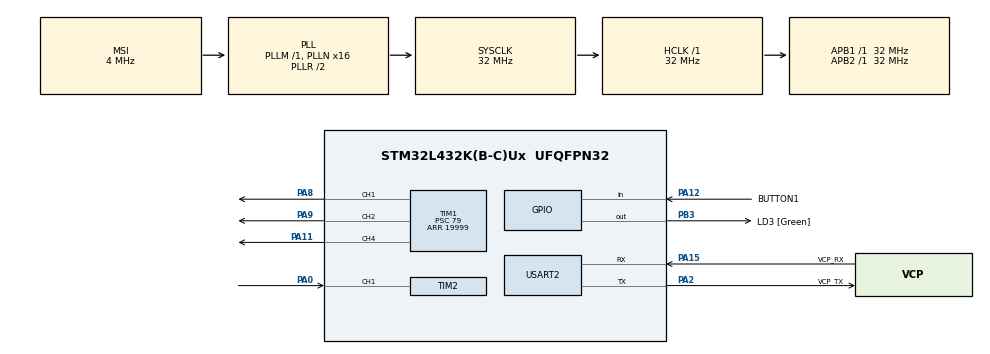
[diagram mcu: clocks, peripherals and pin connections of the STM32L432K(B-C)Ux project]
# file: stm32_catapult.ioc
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Mcu.Family=STM32L4
Mcu.Name=STM32L432K(B-C)Ux
Mcu.Package=UFQFPN32
NVIC.PriorityGroup=NVIC_PRIORITYGROUP_4
NVIC.TIM2_IRQn=true\:0\:0\:false\:false\:true\:true\:true\:true
NVIC.USART2_IRQn=true\:0\:0\:false\:false\:true\:true\:true\:true
PA0.Signal=S_TIM2_CH1
PA11.Signal=S_TIM1_CH4
PA12.GPIO_Label=BUTTON1
PA12.Signal=GPIO_Input
PA13\ (JTMS-SWDIO).GPIO_Label=SWDIO
PA13\ (JTMS-SWDIO).Mode=Serial_Wire
PA13\ (JTMS-SWDIO).Signal=SYS_JTMS-SWDIO
PA14\ (JTCK-SWCLK).GPIO_Label=SWCLK
PA14\ (JTCK-SWCLK).Mode=Serial_Wire
PA14\ (JTCK-SWCLK).Signal=SYS_JTCK-SWCLK
PA15\ (JTDI).GPIO_Label=VCP_RX
PA15\ (JTDI).Mode=Asynchronous
PA15\ (JTDI).Signal=USART2_RX
PA2.GPIO_Label=VCP_TX
PA2.Mode=Asynchronous
PA2.Signal=USART2_TX
PA8.Signal=S_TIM1_CH1
PA9.Signal=S_TIM1_CH2
PB3\ (JTDO-TRACESWO).GPIO_Label=LD3 [Green]
PB3\ (JTDO-TRACESWO).Signal=GPIO_Output
PC14-OSC32_IN\ (PC14).Mode=LSE-External-Oscillator
PC14-OSC32_IN\ (PC14).Signal=RCC_OSC32_IN
PC15-OSC32_OUT\ (PC15).Mode=LSE-External-Oscillator
PC15-OSC32_OUT\ (PC15).Signal=RCC_OSC32_OUT
ProjectManager.HeapSize=0x200
ProjectManager.StackSize=0x400
ProjectManager.TargetToolchain=STM32CubeIDE
RCC.AHBFreq_Value=32000000
RCC.APB1Freq_Value=32000000
RCC.APB1TimFreq_Value=32000000
RCC.APB2Freq_Value=32000000
RCC.APB2TimFreq_Value=32000000
RCC.CortexFreq_Value=32000000
RCC.HCLKFreq_Value=32000000
RCC.HSE_VALUE=8000000
RCC.HSI16_VALUE=16000000
RCC.HSI48_VALUE=48000000
RCC.HSI_VALUE=16000000
RCC.MSI_VALUE=4000000
RCC.PLLMUL=RCC_PLLMUL_4
RCC.PLLN=16
RCC.SYSCLKFreq_VALUE=32000000
RCC.SYSCLKSource=RCC_SYSCLKSOURCE_PLLCLK
RCC.VCOOutputFreq_Value=64000000
SH.S_TIM1_CH1.0=TIM1_CH1,PWM Generation1 CH1
SH.S_TIM1_CH2.0=TIM1_CH2,PWM Generation2 CH2
SH.S_TIM1_CH4.0=TIM1_CH4,PWM Generation4 CH4
SH.S_TIM2_CH1.0=TIM2_CH1,Input_Capture1_from_TI1
TIM1.Channel-PWM\ Generation1\ CH1=TIM_CHANNEL_1
TIM1.Channel-PWM\ Generation2\ CH2=TIM_CHANNEL_2
TIM1.Channel-PWM\ Generation4\ CH4=TIM_CHANNEL_4
TIM1.Period=19999
TIM1.Prescaler=79
TIM2.Channel-Input_Capture1_from_TI1=TIM_CHANNEL_1
USART2.VirtualMode-Asynchronous=VM_ASYNC
VP_TIM2_VS_ClockSourceINT.Mode=Internal
board=NUCLEO-L432KC

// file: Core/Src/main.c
/* USER CODE BEGIN Header */
/* USER CODE END Header */
#include "main.h"

/* USER CODE BEGIN Includes */
#include <stdio.h>
#include <string.h>
/* USER CODE END Includes */

/* USER CODE BEGIN PTD */

// States of the state machine of the catapult
typedef enum {
    ETAT_REPOS      = 0,  // Initial position / Idle
    ETAT_RECHARGE   = 1,  // Recharge
    ETAT_SET_SERVO1 = 2,  // Interactive adjustment of servo 1
    ETAT_SET_SERVO2 = 3,  // Interactive adjustment of servo 2
	ETAT_ATTENTE    = 4,  // Wait
    ETAT_CATAPULTE  = 5,  // Fire
} Etat_t;

/* USER CODE END PTD */

/* USER CODE BEGIN PD */
#define TIMER_CLOCK_HZ   32000000.0f  // TIM2 clock frequency (Hz)
#define FREQ_MIN         29000.0f     // Minimal frequency of the entry (Hz)
#define FREQ_MAX         62000.0f     // Maximal frequency of the entry (Hz)
#define FILTER_SIZE      10           // Filter size
#define DEBOUNCE_MS      200          // Anti-rebound button (ms)

// Mechanical limits servo 1
#define SERVO1_ANGLE_MIN 40
#define SERVO1_ANGLE_MAX 125

// Mechanical limits servo 2 and 3
#define SERVO2_ANGLE_MIN 0
#define SERVO2_ANGLE_MAX 180
/* USER CODE END PD */

TIM_HandleTypeDef htim1;
TIM_HandleTypeDef htim2;

UART_HandleTypeDef huart2;

/* USER CODE BEGIN PV */

// ISR variables (volatile)
static volatile uint32_t ic1_prev       = 0;
static volatile uint32_t diff1          = 0;
static volatile uint8_t  first_capture1 = 0;
static volatile uint8_t  ready1         = 0;

// Filter
static uint32_t capture_buffer1[FILTER_SIZE] = {0};
static uint8_t  filter_index1  = 0;
static uint32_t filter_sum1    = 0;
static uint8_t  filter_count1  = 0;  // Number of valid samples (≤ FILTER_SIZE)

// State machine
static Etat_t   etat           = ETAT_REPOS;
static uint8_t  angle1_bloque  = 90;
static uint8_t  angle2_bloque  = 90;
static uint32_t last_button_time = 0;

// Mesured frequency
static uint32_t freq1 = 0;

// UART for debug
static char     uart_buf[64];
static uint16_t print_cnt = 0;

/* USER CODE END PV */

void SystemClock_Config(void);
static void MX_GPIO_Init(void);
static void MX_USART2_UART_Init(void);
static void MX_TIM2_Init(void);
static void MX_TIM1_Init(void);
/* USER CODE BEGIN PFP */
static uint32_t servo_angle_to_ccr(uint8_t angle, uint8_t angle_min, uint8_t angle_max);
static uint32_t moving_average1(uint32_t new_val);
static uint8_t  freq_to_angle(uint32_t freq);
/* USER CODE END PFP */

/* USER CODE BEGIN 0 */

// convert angle to ccr
static uint32_t servo_angle_to_ccr(uint8_t angle, uint8_t angle_min, uint8_t angle_max)
{
    if (angle < angle_min) angle = angle_min;
    if (angle > angle_max) angle = angle_max;
    return 150 + ((uint32_t)angle * 750) / 180;
}

// Moving average filter
// new_val is the new value to integrate.
static uint32_t moving_average1(uint32_t new_val)
{
    filter_sum1 -= capture_buffer1[filter_index1];
    capture_buffer1[filter_index1] = new_val;
    filter_sum1 += new_val;

    filter_index1 = (filter_index1 + 1) % FILTER_SIZE;

    if (filter_count1 < FILTER_SIZE)
    {
        filter_count1++;
    }

    // Avoid division by zero on the first call
    if (filter_count1 == 0)
    {
        return new_val;
    }

    return filter_sum1 / filter_count1;
}

// Converts a sensor frequency into a servo angle (0°–180°).
/* The frequency is clamped to [FREQ_MIN, FREQ_MAX] before conversion
 to prevent overflow or out-of-range values. */
static uint8_t freq_to_angle(uint32_t freq)
{
    float f = (float)freq;
    if (f < FREQ_MIN) f = FREQ_MIN;
    if (f > FREQ_MAX) f = FREQ_MAX;
    return (uint8_t)(180.0f - (FREQ_MAX - f) * 180.0f / (FREQ_MAX - FREQ_MIN));
}

/* USER CODE END 0 */

int main(void)
{

  /* MCU Configuration--------------------------------------------------------*/

  /* Reset of all peripherals, Initializes the Flash interface and the Systick. */
  HAL_Init();

  /* Configure the system clock */
  SystemClock_Config();

  /* Initialize all configured peripherals */
  MX_GPIO_Init();
  MX_USART2_UART_Init();
  MX_TIM2_Init();
  MX_TIM1_Init();
  /* USER CODE BEGIN 2 */
    HAL_TIM_PWM_Start(&htim1, TIM_CHANNEL_1);
    HAL_TIM_PWM_Start(&htim1, TIM_CHANNEL_2);
    HAL_TIM_PWM_Start(&htim1, TIM_CHANNEL_4);

    HAL_TIM_IC_Start_IT(&htim2, TIM_CHANNEL_1);
    // UART TEST at startup
    char test_buf[32];
    uint8_t test_len = sprintf(test_buf, "boot ok\r\n");
    HAL_UART_Transmit(&huart2, (uint8_t *)test_buf, test_len, 1000);
  /* USER CODE END 2 */

  /* Infinite loop */
  /* USER CODE BEGIN WHILE */

		if (HAL_GPIO_ReadPin(GPIOA, GPIO_PIN_12) == GPIO_PIN_RESET)
		{
			uint32_t now = HAL_GetTick();
			if ((now - last_button_time) > DEBOUNCE_MS)
			{
				last_button_time = now;
				switch (etat)
				{
					case ETAT_REPOS:
						etat = ETAT_RECHARGE;
						break;
					case ETAT_RECHARGE:
						etat = ETAT_SET_SERVO1;
						break;
					case ETAT_SET_SERVO1:
						angle1_bloque = freq_to_angle(freq1);
						etat = ETAT_SET_SERVO2;
						break;
					case ETAT_SET_SERVO2:
						angle2_bloque = freq_to_angle(freq1);
						etat = ETAT_ATTENTE;
						break;
					case ETAT_ATTENTE:
						etat = ETAT_CATAPULTE;
						break;
					case ETAT_CATAPULTE:
						etat = ETAT_REPOS;
						break;
					default:
						etat = ETAT_REPOS;
						break;
				}
			}
		}

		if (ready1)
		{
			uint32_t local_diff;
			__disable_irq();
			local_diff = diff1;
			ready1 = 0;
			__enable_irq();

			uint32_t diff_filtered = moving_average1(local_diff);
			freq1 = (diff_filtered > 0) ? (uint32_t)(TIMER_CLOCK_HZ / (float)diff_filtered) : 0;

			uint8_t angle_live = freq_to_angle(freq1);

			uint8_t angle1;
			if (etat == ETAT_REPOS || etat == ETAT_RECHARGE)
				angle1 = SERVO1_ANGLE_MAX;
			else if (etat == ETAT_SET_SERVO1)
				angle1 = angle_live;
			else
				angle1 = angle1_bloque;

			__HAL_TIM_SET_COMPARE(&htim1, TIM_CHANNEL_1,
				servo_angle_to_ccr(angle1, SERVO1_ANGLE_MIN, SERVO1_ANGLE_MAX));

			uint8_t angle2 = (etat == ETAT_SET_SERVO2) ? angle_live : angle2_bloque;
			__HAL_TIM_SET_COMPARE(&htim1, TIM_CHANNEL_2,
				servo_angle_to_ccr(angle2, SERVO2_ANGLE_MIN, SERVO2_ANGLE_MAX));

			uint8_t angle3 = (etat == ETAT_REPOS || etat == ETAT_CATAPULTE) ? 180 : 90;
			__HAL_TIM_SET_COMPARE(&htim1, TIM_CHANNEL_4,
				servo_angle_to_ccr(angle3, SERVO2_ANGLE_MIN, SERVO2_ANGLE_MAX));

			if (++print_cnt >= 500)
			{
				print_cnt = 0;
				if (huart2.gState == HAL_UART_STATE_READY)
				{
					uint8_t len = sprintf(uart_buf, "freq=%lu Hz  angle=%u\r\n",
										  freq1, (unsigned)freq_to_angle(freq1));
					HAL_UART_Transmit_IT(&huart2, (uint8_t *)uart_buf, len);
				}
			}
		}

    /* USER CODE END WHILE */

  }

void SystemClock_Config(void)
{
  RCC_OscInitTypeDef RCC_OscInitStruct = {0};
  RCC_ClkInitTypeDef RCC_ClkInitStruct = {0};

  /** Configure the main internal regulator output voltage
  */
  if (HAL_PWREx_ControlVoltageScaling(PWR_REGULATOR_VOLTAGE_SCALE1) != HAL_OK)
  {
    Error_Handler();
  }

  /** Configure LSE Drive Capability
  */
  HAL_PWR_EnableBkUpAccess();
  __HAL_RCC_LSEDRIVE_CONFIG(RCC_LSEDRIVE_LOW);

  /** Initializes the RCC Oscillators according to the specified parameters
  * in the RCC_OscInitTypeDef structure.
  */
  RCC_OscInitStruct.OscillatorType = RCC_OSCILLATORTYPE_LSE|RCC_OSCILLATORTYPE_MSI;
  RCC_OscInitStruct.LSEState = RCC_LSE_ON;
  RCC_OscInitStruct.MSIState = RCC_MSI_ON;
  RCC_OscInitStruct.MSICalibrationValue = 0;
  RCC_OscInitStruct.MSIClockRange = RCC_MSIRANGE_6;
  RCC_OscInitStruct.PLL.PLLState = RCC_PLL_ON;
  RCC_OscInitStruct.PLL.PLLSource = RCC_PLLSOURCE_MSI;
  RCC_OscInitStruct.PLL.PLLM = 1;
  RCC_OscInitStruct.PLL.PLLN = 16;
  RCC_OscInitStruct.PLL.PLLP = RCC_PLLP_DIV7;
  RCC_OscInitStruct.PLL.PLLQ = RCC_PLLQ_DIV2;
  RCC_OscInitStruct.PLL.PLLR = RCC_PLLR_DIV2;
  if (HAL_RCC_OscConfig(&RCC_OscInitStruct) != HAL_OK)
  {
    Error_Handler();
  }

  /** Initializes the CPU, AHB and APB buses clocks
  */
  RCC_ClkInitStruct.ClockType = RCC_CLOCKTYPE_HCLK|RCC_CLOCKTYPE_SYSCLK
                              |RCC_CLOCKTYPE_PCLK1|RCC_CLOCKTYPE_PCLK2;
  RCC_ClkInitStruct.SYSCLKSource = RCC_SYSCLKSOURCE_PLLCLK;
  RCC_ClkInitStruct.AHBCLKDivider = RCC_SYSCLK_DIV1;
  RCC_ClkInitStruct.APB1CLKDivider = RCC_HCLK_DIV1;
  RCC_ClkInitStruct.APB2CLKDivider = RCC_HCLK_DIV1;

  if (HAL_RCC_ClockConfig(&RCC_ClkInitStruct, FLASH_LATENCY_1) != HAL_OK)
  {
    Error_Handler();
  }

  /** Enable MSI Auto calibration
  */
  HAL_RCCEx_EnableMSIPLLMode();
}

static void MX_TIM1_Init(void)
{

  TIM_MasterConfigTypeDef sMasterConfig = {0};
  TIM_OC_InitTypeDef sConfigOC = {0};
  TIM_BreakDeadTimeConfigTypeDef sBreakDeadTimeConfig = {0};

  htim1.Instance = TIM1;
  htim1.Init.Prescaler = 79;
  htim1.Init.CounterMode = TIM_COUNTERMODE_UP;
  htim1.Init.Period = 19999;
  htim1.Init.ClockDivision = TIM_CLOCKDIVISION_DIV1;
  htim1.Init.RepetitionCounter = 0;
  htim1.Init.AutoReloadPreload = TIM_AUTORELOAD_PRELOAD_DISABLE;
  if (HAL_TIM_PWM_Init(&htim1) != HAL_OK)
  {
    Error_Handler();
  }
  sMasterConfig.MasterOutputTrigger = TIM_TRGO_RESET;
  sMasterConfig.MasterOutputTrigger2 = TIM_TRGO2_RESET;
  sMasterConfig.MasterSlaveMode = TIM_MASTERSLAVEMODE_DISABLE;
  if (HAL_TIMEx_MasterConfigSynchronization(&htim1, &sMasterConfig) != HAL_OK)
  {
    Error_Handler();
  }
  sConfigOC.OCMode = TIM_OCMODE_PWM1;
  sConfigOC.Pulse = 0;
  sConfigOC.OCPolarity = TIM_OCPOLARITY_HIGH;
  sConfigOC.OCNPolarity = TIM_OCNPOLARITY_HIGH;
  sConfigOC.OCFastMode = TIM_OCFAST_DISABLE;
  sConfigOC.OCIdleState = TIM_OCIDLESTATE_RESET;
  sConfigOC.OCNIdleState = TIM_OCNIDLESTATE_RESET;
  if (HAL_TIM_PWM_ConfigChannel(&htim1, &sConfigOC, TIM_CHANNEL_1) != HAL_OK)
  {
    Error_Handler();
  }
  if (HAL_TIM_PWM_ConfigChannel(&htim1, &sConfigOC, TIM_CHANNEL_2) != HAL_OK)
  {
    Error_Handler();
  }
  if (HAL_TIM_PWM_ConfigChannel(&htim1, &sConfigOC, TIM_CHANNEL_4) != HAL_OK)
  {
    Error_Handler();
  }
  sBreakDeadTimeConfig.OffStateRunMode = TIM_OSSR_DISABLE;
  sBreakDeadTimeConfig.OffStateIDLEMode = TIM_OSSI_DISABLE;
  sBreakDeadTimeConfig.LockLevel = TIM_LOCKLEVEL_OFF;
  sBreakDeadTimeConfig.DeadTime = 0;
  sBreakDeadTimeConfig.BreakState = TIM_BREAK_DISABLE;
  sBreakDeadTimeConfig.BreakPolarity = TIM_BREAKPOLARITY_HIGH;
  sBreakDeadTimeConfig.BreakFilter = 0;
  sBreakDeadTimeConfig.Break2State = TIM_BREAK2_DISABLE;
  sBreakDeadTimeConfig.Break2Polarity = TIM_BREAK2POLARITY_HIGH;
  sBreakDeadTimeConfig.Break2Filter = 0;
  sBreakDeadTimeConfig.AutomaticOutput = TIM_AUTOMATICOUTPUT_DISABLE;
  if (HAL_TIMEx_ConfigBreakDeadTime(&htim1, &sBreakDeadTimeConfig) != HAL_OK)
  {
    Error_Handler();
  }
  HAL_TIM_MspPostInit(&htim1);

}

static void MX_TIM2_Init(void)
{

  TIM_ClockConfigTypeDef sClockSourceConfig = {0};
  TIM_MasterConfigTypeDef sMasterConfig = {0};
  TIM_IC_InitTypeDef sConfigIC = {0};

  htim2.Instance = TIM2;
  htim2.Init.Prescaler = 0;
  htim2.Init.CounterMode = TIM_COUNTERMODE_UP;
  htim2.Init.Period = 4294967295;
  htim2.Init.ClockDivision = TIM_CLOCKDIVISION_DIV1;
  htim2.Init.AutoReloadPreload = TIM_AUTORELOAD_PRELOAD_DISABLE;
  if (HAL_TIM_Base_Init(&htim2) != HAL_OK)
  {
    Error_Handler();
  }
  sClockSourceConfig.ClockSource = TIM_CLOCKSOURCE_INTERNAL;
  if (HAL_TIM_ConfigClockSource(&htim2, &sClockSourceConfig) != HAL_OK)
  {
    Error_Handler();
  }
  if (HAL_TIM_IC_Init(&htim2) != HAL_OK)
  {
    Error_Handler();
  }
  sMasterConfig.MasterOutputTrigger = TIM_TRGO_RESET;
  sMasterConfig.MasterSlaveMode = TIM_MASTERSLAVEMODE_DISABLE;
  if (HAL_TIMEx_MasterConfigSynchronization(&htim2, &sMasterConfig) != HAL_OK)
  {
    Error_Handler();
  }
  sConfigIC.ICPolarity = TIM_INPUTCHANNELPOLARITY_RISING;
  sConfigIC.ICSelection = TIM_ICSELECTION_DIRECTTI;
  sConfigIC.ICPrescaler = TIM_ICPSC_DIV1;
  sConfigIC.ICFilter = 0;
  if (HAL_TIM_IC_ConfigChannel(&htim2, &sConfigIC, TIM_CHANNEL_1) != HAL_OK)
  {
    Error_Handler();
  }

}

static void MX_USART2_UART_Init(void)
{

  huart2.Instance = USART2;
  huart2.Init.BaudRate = 115200;
  huart2.Init.WordLength = UART_WORDLENGTH_8B;
  huart2.Init.StopBits = UART_STOPBITS_1;
  huart2.Init.Parity = UART_PARITY_NONE;
  huart2.Init.Mode = UART_MODE_TX_RX;
  huart2.Init.HwFlowCtl = UART_HWCONTROL_NONE;
  huart2.Init.OverSampling = UART_OVERSAMPLING_16;
  huart2.Init.OneBitSampling = UART_ONE_BIT_SAMPLE_DISABLE;
  huart2.AdvancedInit.AdvFeatureInit = UART_ADVFEATURE_NO_INIT;
  if (HAL_UART_Init(&huart2) != HAL_OK)
  {
    Error_Handler();
  }
  /* USER CODE BEGIN USART2_Init 2 */
  HAL_NVIC_SetPriority(USART2_IRQn, 0, 0);
  HAL_NVIC_EnableIRQ(USART2_IRQn);
  /* USER CODE END USART2_Init 2 */

}

static void MX_GPIO_Init(void)
{
  GPIO_InitTypeDef GPIO_InitStruct = {0};

  /* GPIO Ports Clock Enable */
  __HAL_RCC_GPIOC_CLK_ENABLE();
  __HAL_RCC_GPIOA_CLK_ENABLE();
  __HAL_RCC_GPIOB_CLK_ENABLE();

  /*Configure GPIO pin Output Level */
  HAL_GPIO_WritePin(LD3_GPIO_Port, LD3_Pin, GPIO_PIN_RESET);

  /*Configure GPIO pin : BUTTON1_Pin */
  GPIO_InitStruct.Pin = BUTTON1_Pin;
  GPIO_InitStruct.Mode = GPIO_MODE_INPUT;
  GPIO_InitStruct.Pull = GPIO_NOPULL;
  HAL_GPIO_Init(BUTTON1_GPIO_Port, &GPIO_InitStruct);

  /*Configure GPIO pin : LD3_Pin */
  GPIO_InitStruct.Pin = LD3_Pin;
  GPIO_InitStruct.Mode = GPIO_MODE_OUTPUT_PP;
  GPIO_InitStruct.Pull = GPIO_NOPULL;
  GPIO_InitStruct.Speed = GPIO_SPEED_FREQ_LOW;
  HAL_GPIO_Init(LD3_GPIO_Port, &GPIO_InitStruct);

/* USER CODE BEGIN MX_GPIO_Init_2 */

    /* Bouton utilisateur → PA12, pull-up interne */
    GPIO_InitStruct.Pin  = GPIO_PIN_12;
    GPIO_InitStruct.Mode = GPIO_MODE_INPUT;
    GPIO_InitStruct.Pull = GPIO_PULLUP;
    HAL_GPIO_Init(GPIOA, &GPIO_InitStruct);

/* USER CODE END MX_GPIO_Init_2 */
}

/* USER CODE BEGIN 4 */

// TIM input capture callback.
// Measures the period between two rising edges on TIM2 CH1.
// diff1 contains the number of ticks between two successive captures.
// ready1 is set to 1 to signal that a new measurement is available.

void HAL_TIM_IC_CaptureCallback(TIM_HandleTypeDef *htim)
{
    if (htim->Instance == TIM2 && htim->Channel == HAL_TIM_ACTIVE_CHANNEL_1)
    {
        uint32_t capture = HAL_TIM_ReadCapturedValue(htim, TIM_CHANNEL_1);

        if (!first_capture1)
        {
            ic1_prev       = capture;
            first_capture1 = 1;
        }
        else
        {
            diff1  = capture - ic1_prev;
            ic1_prev = capture;
            ready1 = 1;
        }
    }
}

/* USER CODE END 4 */

void Error_Handler(void)
{
  /* USER CODE BEGIN Error_Handler_Debug */
    __disable_irq();
    while (1)
    {
        HAL_GPIO_TogglePin(LD3_GPIO_Port, LD3_Pin);
        HAL_Delay(200);
    }
  /* USER CODE END Error_Handler_Debug */
}

#ifdef  USE_FULL_ASSERT
/**
  * @brief  Reports the name of the source file and the source line number
  *         where the assert_param error has occurred.
  * @param  file: pointer to the source file name
  * @param  line: assert_param error line source number
  * @retval None
  */
void assert_failed(uint8_t *file, uint32_t line)
{
  /* USER CODE BEGIN 6 */
    (void)file;
    (void)line;
  /* USER CODE END 6 */
}
#endif /* USE_FULL_ASSERT */
